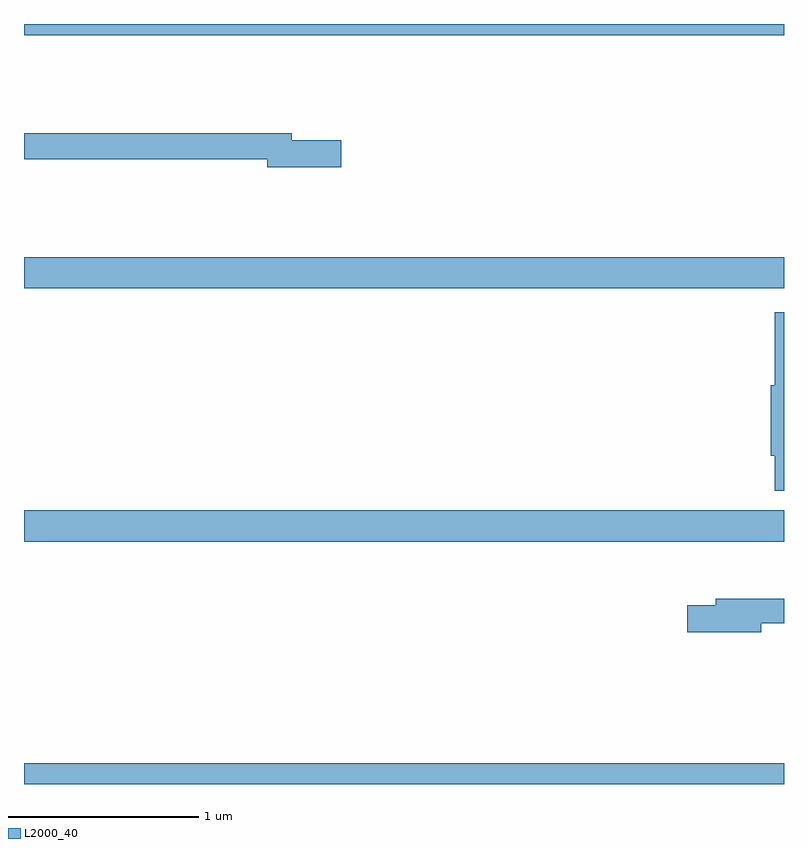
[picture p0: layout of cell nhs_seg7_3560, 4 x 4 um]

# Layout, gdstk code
import gdstk
lib = gdstk.Library(unit=1e-6, precision=1e-09)
def R(c, l, rs):  # rectangles x0, y0, x1, y1
    for r in rs: c.add(gdstk.rectangle(r[:2], r[2:], *l))
def P(c, l, *ps):  # polygons
    for p in ps: c.add(gdstk.Polygon(p, *l))
L2000_40 = (2000, 40)

nhs_seg7_3560 = lib.new_cell('nhs_seg7_3560')
R(nhs_seg7_3560, L2000_40, [(339,1006,343,1006.108), (339,1007.276,343,1007.44), (339,1008.608,343,1008.772), (339,1009.94,343,1010)])
P(nhs_seg7_3560, L2000_40, [(340.669,1009.388),(340.408,1009.388),(340.408,1009.424),(339,1009.424),(339,1009.288),(340.28,1009.288),(340.28,1009.246),(340.669,1009.246)],
  [(343,1008.484),(342.95,1008.484),(342.95,1008.099),(342.929,1008.099),(342.929,1007.727),(342.95,1007.727),(342.95,1007.544),(343,1007.544)],
  [(342.88,1006.846),(343,1006.846),(343,1006.975),(342.641,1006.975),(342.641,1006.941),(342.492,1006.941),(342.492,1006.799),(342.88,1006.799)])

lib.write_gds('nhs_seg7_3560.gds')
